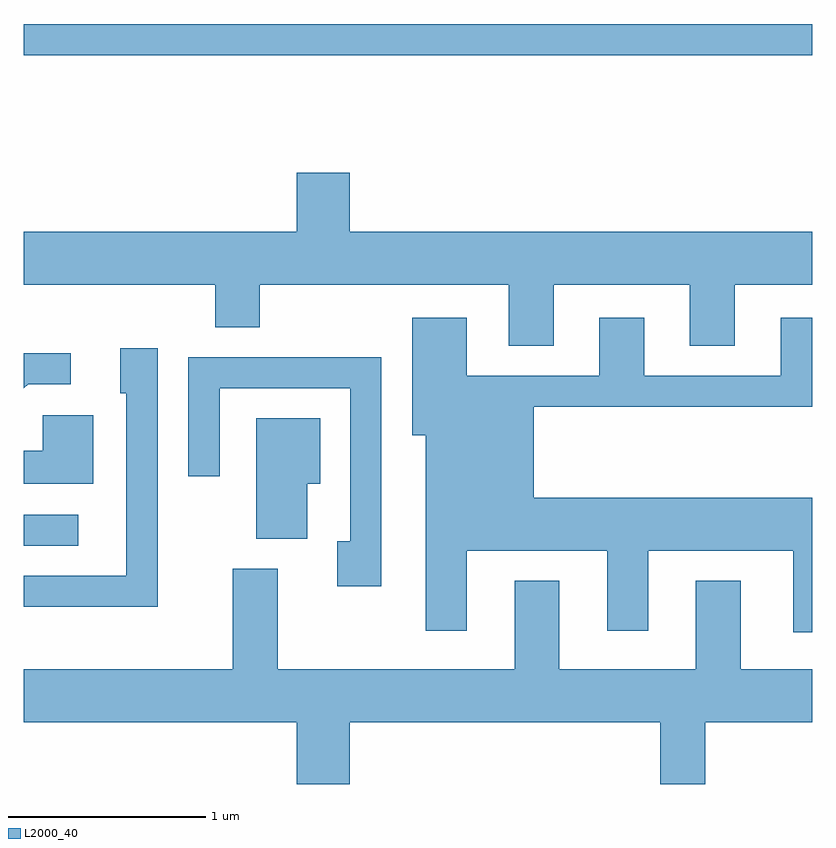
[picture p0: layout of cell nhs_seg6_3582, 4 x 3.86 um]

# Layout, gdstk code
import gdstk
lib = gdstk.Library(unit=1e-6, precision=1e-09)
def R(c, l, rs):  # rectangles x0, y0, x1, y1
    for r in rs: c.add(gdstk.rectangle(r[:2], r[2:], *l))
def P(c, l, *ps):  # polygons
    for p in ps: c.add(gdstk.Polygon(p, *l))
L2000_40 = (2000, 40)

nhs_seg6_3582 = lib.new_cell('nhs_seg6_3582')
R(nhs_seg6_3582, L2000_40, [(293.611,1555.371,293.888,1555.529), (293.611,1557.861,297.611,1558.019)])
P(nhs_seg6_3582, L2000_40, [(296.299,1556.696),(296.991,1556.696),(296.991,1556.386),(297.219,1556.386),(297.219,1556.696),(297.611,1556.696),(297.611,1556.964),(295.264,1556.964),(295.264,1557.264),(294.996,1557.264),(294.996,1556.964),(293.611,1556.964),(293.611,1556.696),(294.581,1556.696),(294.581,1556.481),(294.809,1556.481),(294.809,1556.696),(296.071,1556.696),(296.071,1556.386),(296.299,1556.386)],
  [(297.611,1555.614),(296.199,1555.614),(296.199,1556.076),(297.611,1556.076),(297.611,1556.529),(297.451,1556.529),(297.451,1556.234),(296.759,1556.234),(296.759,1556.529),(296.531,1556.529),(296.531,1556.234),(295.859,1556.234),(295.859,1556.529),(295.581,1556.529),(295.581,1555.931),(295.651,1555.931),(295.651,1554.941),(295.859,1554.941),(295.859,1555.346),(296.571,1555.346),(296.571,1554.941),(296.779,1554.941),(296.779,1555.346),(297.516,1555.346),(297.516,1554.933),(297.611,1554.933)],
  [(294.289,1556.374),(294.101,1556.374),(294.101,1556.146),(294.131,1556.146),(294.131,1555.219),(293.611,1555.219),(293.611,1555.061),(294.289,1555.061)],
  [(293.632,1556.191),(293.848,1556.191),(293.848,1556.349),(293.611,1556.349),(293.611,1556.17)],
  [(295.424,1556.329),(294.446,1556.329),(294.446,1555.723),(294.604,1555.723),(294.604,1556.171),(295.266,1556.171),(295.266,1555.394),(295.201,1555.394),(295.201,1555.166),(295.424,1555.166)],
  [(293.964,1556.034),(293.706,1556.034),(293.706,1555.854),(293.611,1555.854),(293.611,1555.686),(293.964,1555.686)],
  [(295.049,1555.686),(295.114,1555.686),(295.114,1556.019),(294.791,1556.019),(294.791,1555.406),(295.049,1555.406)],
  [(295.264,1554.476),(296.841,1554.476),(296.841,1554.162),(297.069,1554.162),(297.069,1554.476),(297.611,1554.476),(297.611,1554.744),(297.249,1554.744),(297.249,1555.194),(297.021,1555.194),(297.021,1554.744),(296.329,1554.744),(296.329,1555.194),(296.101,1555.194),(296.101,1554.744),(294.899,1554.744),(294.899,1555.254),(294.671,1555.254),(294.671,1554.744),(293.611,1554.744),(293.611,1554.476),(294.996,1554.476),(294.996,1554.162),(295.264,1554.162)])

lib.write_gds('nhs_seg6_3582.gds')
